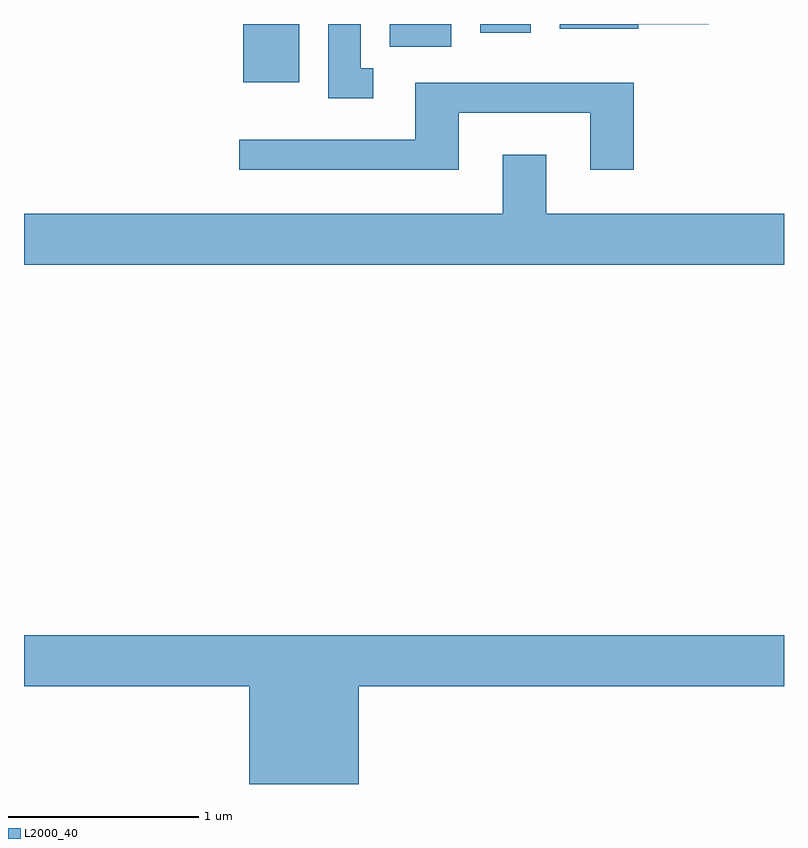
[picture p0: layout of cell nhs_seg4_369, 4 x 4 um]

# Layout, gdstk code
import gdstk
lib = gdstk.Library(unit=1e-6, precision=1e-09)
def R(c, l, rs):  # rectangles x0, y0, x1, y1
    for r in rs: c.add(gdstk.rectangle(r[:2], r[2:], *l))
def P(c, l, *ps):  # polygons
    for p in ps: c.add(gdstk.Polygon(p, *l))
L2000_40 = (2000, 40)

nhs_seg4_369 = lib.new_cell('nhs_seg4_369')
R(nhs_seg4_369, L2000_40, [(196.766,1315.676,197.059,1315.982), (197.536,1315.861,197.859,1315.982), (198.011,1315.936,198.279,1315.982)])
P(nhs_seg4_369, L2000_40, [(197.448,1315.749),(197.384,1315.749),(197.384,1315.982),(197.211,1315.982),(197.211,1315.591),(197.448,1315.591)],
  [(198.844,1315.981),(199.214,1315.981),(199.214,1315.982),(198.431,1315.982),(198.431,1315.956),(198.844,1315.956)],
  [(197.899,1315.516),(198.591,1315.516),(198.591,1315.216),(198.819,1315.216),(198.819,1315.674),(197.671,1315.674),(197.671,1315.374),(196.743,1315.374),(196.743,1315.216),(197.899,1315.216)],
  [(199.611,1314.984),(198.359,1314.984),(198.359,1315.294),(198.131,1315.294),(198.131,1314.984),(195.611,1314.984),(195.611,1314.716),(199.611,1314.716)],
  [(197.374,1312.496),(199.611,1312.496),(199.611,1312.764),(195.611,1312.764),(195.611,1312.496),(196.796,1312.496),(196.796,1311.982),(197.374,1311.982)])

lib.write_gds('nhs_seg4_369.gds')
